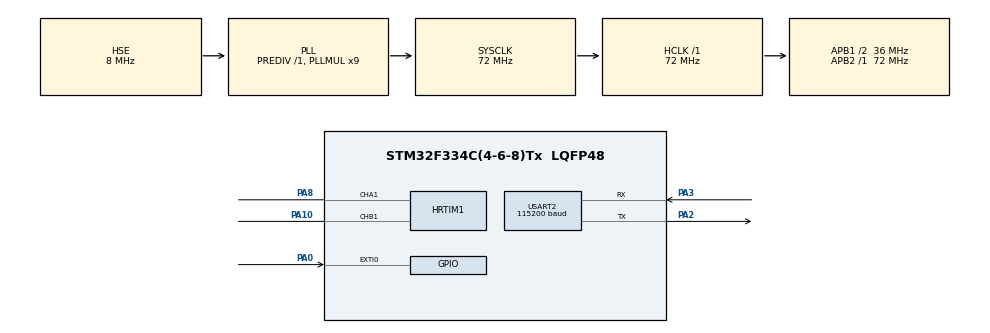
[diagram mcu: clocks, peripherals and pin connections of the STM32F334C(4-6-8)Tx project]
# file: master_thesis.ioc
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HRTIM1.CaptureUnit1-Output_TB1=__NULL
HRTIM1.CaptureUnit2-Output_TB1=__NULL
HRTIM1.CompareUnit1-MasterTimer=HRTIM_COMPAREUNIT_1
HRTIM1.CompareUnit1-Output_TA1=__NULL
HRTIM1.CompareUnit1-Output_TB1=__NULL
HRTIM1.CompareUnit2-MasterTimer=HRTIM_COMPAREUNIT_2
HRTIM1.CompareUnit2-Output_TB1=__NULL
HRTIM1.CompareUnit3-MasterTimer=HRTIM_COMPAREUNIT_3
HRTIM1.CompareUnit3-Output_TB1=__NULL
HRTIM1.CompareUnit4-MasterTimer=HRTIM_COMPAREUNIT_4
HRTIM1.CompareUnit4-Output_TB1=__NULL
HRTIM1.CompareValue1-MasterTimer=0x0060
HRTIM1.CompareValue2-MasterTimer=0x1260
HRTIM1.CompareValue3-MasterTimer=0x3F19
HRTIM1.CompareValue4-MasterTimer=0x5119
HRTIM1.HalfModeEnable-Output_TA1=HRTIM_HALFMODE_DISABLED
HRTIM1.InterruptRequests1_Master=HRTIM_MASTER_IT_MREP
HRTIM1.NumberInterruptRequests_Master-MasterTimer=1
HRTIM1.NumberResetSource1-Output_TA1=1
HRTIM1.NumberResetSource1-Output_TB1=1
HRTIM1.NumberSetSource1-Output_TA1=1
HRTIM1.NumberSetSource1-Output_TB1=1
HRTIM1.Periode_TA=0xFFDF
HRTIM1.Periode_TB=0xFFDF
HRTIM1.ResetOutput1_Source1-Output_TA1=HRTIM_OUTPUTRESET_MASTERCMP2
HRTIM1.ResetOutput1_Source1-Output_TB1=HRTIM_OUTPUTRESET_MASTERCMP4
HRTIM1.SetOutput1_Source1-Output_TA1=HRTIM_OUTPUTSET_MASTERCMP1
HRTIM1.SetOutput1_Source1-Output_TB1=HRTIM_OUTPUTSET_MASTERCMP3
Mcu.Family=STM32F3
Mcu.Name=STM32F334C(4-6-8)Tx
Mcu.Package=LQFP48
NVIC.EXTI0_IRQn=true\:0\:0\:false\:false\:true\:true\:true\:true
NVIC.HRTIM1_FLT_IRQn=true\:0\:0\:false\:false\:true\:true\:true\:true
NVIC.HRTIM1_Master_IRQn=true\:0\:0\:false\:false\:true\:true\:true\:true
NVIC.HRTIM1_TIMA_IRQn=true\:0\:0\:false\:false\:true\:true\:true\:true
NVIC.HRTIM1_TIMB_IRQn=true\:0\:0\:false\:false\:true\:true\:true\:true
NVIC.PriorityGroup=NVIC_PRIORITYGROUP_0
NVIC.USART2_IRQn=true\:0\:0\:false\:false\:true\:true\:true\:true
PA0.Signal=GPXTI0
PA10.Mode=Output_TB1
PA10.Signal=HRTIM1_CHB1
PA13.GPIO_Label=SWDIO
PA13.Mode=Serial_Wire
PA13.Signal=SYS_JTMS-SWDIO
PA14.GPIO_Label=SWCLK
PA14.Mode=Serial_Wire
PA14.Signal=SYS_JTCK-SWCLK
PA2.Mode=Asynchronous
PA2.Signal=USART2_TX
PA3.Mode=Asynchronous
PA3.Signal=USART2_RX
PA8.Mode=Output_TA1
PA8.Signal=HRTIM1_CHA1
PF0\ /\ OSC_IN.GPIO_Label=PF0-OSC_IN
PF0\ /\ OSC_IN.Mode=HSE-External-Clock-Source
PF0\ /\ OSC_IN.Signal=RCC_OSC_IN
PF1\ /\ OSC_OUT.GPIO_Label=PF1_OSC_OUT
PF1\ /\ OSC_OUT.Signal=RCC_OSC_OUT
ProjectManager.HeapSize=0x200
ProjectManager.StackSize=0x400
ProjectManager.TargetToolchain=STM32CubeIDE
RCC.AHBFreq_Value=72000000
RCC.APB1CLKDivider=RCC_HCLK_DIV2
RCC.APB1Freq_Value=36000000
RCC.APB1TimFreq_Value=72000000
RCC.APB2Freq_Value=72000000
RCC.APB2TimFreq_Value=72000000
RCC.CortexFreq_Value=72000000
RCC.HCLKFreq_Value=72000000
RCC.HRTIMSelection=RCC_HRTIM1CLK_PLLCLK
RCC.HSE_VALUE=8000000
RCC.HSI_VALUE=8000000
RCC.LSE_VALUE=32768
RCC.PLLMUL=RCC_PLL_MUL9
RCC.PLLSourceVirtual=RCC_PLLSOURCE_HSE
RCC.SYSCLKFreq_VALUE=72000000
RCC.SYSCLKSourceVirtual=RCC_SYSCLKSOURCE_PLLCLK
TIM1.Prescaler=18-1
USART2.BaudRate=115200
USART2.VirtualMode-Asynchronous=VM_ASYNC
VP_HRTIM1_VS_hrtimMasterTimerNoOutput.Mode=MasterTimer
VP_TIM1_VS_ClockSourceINT.Mode=Internal
board=STM32F3348-DISCO

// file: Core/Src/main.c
/* USER CODE BEGIN Header */
/**
  ******************************************************************************
  * @file           : main.c
  * @brief          : Main program body
  ******************************************************************************
  * @attention
  *
  * Copyright (c) 2024 STMicroelectronics.
  * All rights reserved.
  *
  * This software is licensed under terms that can be found in the LICENSE file
  * in the root directory of this software component.
  * If no LICENSE file comes with this software, it is provided AS-IS.
  *
  ******************************************************************************
  */
/* USER CODE END Header */
#include "main.h"

/* USER CODE BEGIN Includes */
#include "string.h"
/* USER CODE END Includes */

/* USER CODE BEGIN PTD */
union Packet
{
	uint32_t packetValue;
	struct
	{
		uint32_t header        :4;
		uint32_t mode          :4;
		uint32_t message       :16;
		uint32_t check         :8;
	}packetFields;
};

typedef union sendPacket {
	union Packet sendMessage;
    uint8_t buff[4];
}sendPacket_t;

/* USER CODE END PTD */

/* USER CODE BEGIN PD */
#define TRUE      1
#define FALSE     0
#define HEADER    0xAU
#define ACK       0xFFU
#define NACK      0x00U
/* USER CODE END PD */

HRTIM_HandleTypeDef hhrtim1;

TIM_HandleTypeDef htim1;

UART_HandleTypeDef huart2;

/* USER CODE BEGIN PV */
uint32_t delay = 0;
uint32_t dutyOfPulse1 = 0x1260;
uint32_t dutyOfPulse2 = 0x5119;
uint32_t pulse1Delay  = 0x0060;
uint32_t pulse2Delay  = 0x3F19;
uint32_t count = 0;
uint8_t data_valid = FALSE;
uint8_t received_byte = 0;
uint32_t received_message = 0;
uint32_t ack_message = 0;
/* MODES ---------------------------------------------------------------------*/
uint8_t modeConnect = 0x1;
uint8_t triggerPulse = 0x2;
uint8_t pulse1Width = 0x3;
uint8_t pulse2Width = 0x4;
uint8_t delayBetweenPulses = 0x5;
uint8_t delayOfPulse1 = 0x6;
/* USER CODE END PV */

void SystemClock_Config(void);
static void MX_GPIO_Init(void);
static void MX_HRTIM1_Init(void);
static void MX_USART2_UART_Init(void);
static void MX_TIM1_Init(void);
/* USER CODE BEGIN PFP */
void ack_send(void);
void nack_send(void);
void processes(void);
uint32_t check_sum(uint32_t message);
void received_data();
void delay_250ns(uint16_t ns);
/* USER CODE END PFP */

int main(void)
{

  /* MCU Configuration--------------------------------------------------------*/

  /* Reset of all peripherals, Initializes the Flash interface and the Systick. */
  HAL_Init();

  /* Configure the system clock */
  SystemClock_Config();

  /* Initialize all configured peripherals */
  MX_GPIO_Init();
  MX_HRTIM1_Init();
  MX_USART2_UART_Init();
  MX_TIM1_Init();
  /* USER CODE BEGIN 2 */
  __HAL_HRTIM_MASTER_ENABLE_IT(&hhrtim1, HRTIM_MASTER_IT_MREP); // Enables master clock
  HAL_UART_Receive_IT(&huart2, &received_byte, 1);
  /* USER CODE END 2 */

  /* Infinite loop */
  while (1)
  {

  }
}

void SystemClock_Config(void)
{
  RCC_OscInitTypeDef RCC_OscInitStruct = {0};
  RCC_ClkInitTypeDef RCC_ClkInitStruct = {0};
  RCC_PeriphCLKInitTypeDef PeriphClkInit = {0};

  /** Initializes the RCC Oscillators according to the specified parameters
  * in the RCC_OscInitTypeDef structure.
  */
  RCC_OscInitStruct.OscillatorType = RCC_OSCILLATORTYPE_HSE;
  RCC_OscInitStruct.HSEState = RCC_HSE_BYPASS;
  RCC_OscInitStruct.HSEPredivValue = RCC_HSE_PREDIV_DIV1;
  RCC_OscInitStruct.HSIState = RCC_HSI_ON;
  RCC_OscInitStruct.PLL.PLLState = RCC_PLL_ON;
  RCC_OscInitStruct.PLL.PLLSource = RCC_PLLSOURCE_HSE;
  RCC_OscInitStruct.PLL.PLLMUL = RCC_PLL_MUL9;
  if (HAL_RCC_OscConfig(&RCC_OscInitStruct) != HAL_OK)
  {
    Error_Handler();
  }

  /** Initializes the CPU, AHB and APB buses clocks
  */
  RCC_ClkInitStruct.ClockType = RCC_CLOCKTYPE_HCLK|RCC_CLOCKTYPE_SYSCLK
                              |RCC_CLOCKTYPE_PCLK1|RCC_CLOCKTYPE_PCLK2;
  RCC_ClkInitStruct.SYSCLKSource = RCC_SYSCLKSOURCE_PLLCLK;
  RCC_ClkInitStruct.AHBCLKDivider = RCC_SYSCLK_DIV1;
  RCC_ClkInitStruct.APB1CLKDivider = RCC_HCLK_DIV2;
  RCC_ClkInitStruct.APB2CLKDivider = RCC_HCLK_DIV1;

  if (HAL_RCC_ClockConfig(&RCC_ClkInitStruct, FLASH_LATENCY_2) != HAL_OK)
  {
    Error_Handler();
  }
  PeriphClkInit.PeriphClockSelection = RCC_PERIPHCLK_HRTIM1|RCC_PERIPHCLK_TIM1;
  PeriphClkInit.Tim1ClockSelection = RCC_TIM1CLK_HCLK;
  PeriphClkInit.Hrtim1ClockSelection = RCC_HRTIM1CLK_PLLCLK;
  if (HAL_RCCEx_PeriphCLKConfig(&PeriphClkInit) != HAL_OK)
  {
    Error_Handler();
  }
}

static void MX_HRTIM1_Init(void)
{

  HRTIM_TimeBaseCfgTypeDef pTimeBaseCfg = {0};
  HRTIM_TimerCfgTypeDef pTimerCfg = {0};
  HRTIM_CompareCfgTypeDef pCompareCfg = {0};
  HRTIM_OutputCfgTypeDef pOutputCfg = {0};

  hhrtim1.Instance = HRTIM1;
  hhrtim1.Init.HRTIMInterruptResquests = HRTIM_IT_NONE;
  hhrtim1.Init.SyncOptions = HRTIM_SYNCOPTION_NONE;
  if (HAL_HRTIM_Init(&hhrtim1) != HAL_OK)
  {
    Error_Handler();
  }
  if (HAL_HRTIM_DLLCalibrationStart(&hhrtim1, HRTIM_CALIBRATIONRATE_14) != HAL_OK)
  {
    Error_Handler();
  }
  if (HAL_HRTIM_PollForDLLCalibration(&hhrtim1, 10) != HAL_OK)
  {
    Error_Handler();
  }
  pTimeBaseCfg.Period = 0xFFDF;
  pTimeBaseCfg.RepetitionCounter = 0x00;
  pTimeBaseCfg.PrescalerRatio = HRTIM_PRESCALERRATIO_MUL32;
  pTimeBaseCfg.Mode = HRTIM_MODE_CONTINUOUS;
  if (HAL_HRTIM_TimeBaseConfig(&hhrtim1, HRTIM_TIMERINDEX_MASTER, &pTimeBaseCfg) != HAL_OK)
  {
    Error_Handler();
  }
  pTimerCfg.InterruptRequests = HRTIM_MASTER_IT_MREP;
  pTimerCfg.DMARequests = HRTIM_MASTER_DMA_NONE;
  pTimerCfg.DMASrcAddress = 0x0000;
  pTimerCfg.DMADstAddress = 0x0000;
  pTimerCfg.DMASize = 0x1;
  pTimerCfg.HalfModeEnable = HRTIM_HALFMODE_DISABLED;
  pTimerCfg.StartOnSync = HRTIM_SYNCSTART_DISABLED;
  pTimerCfg.ResetOnSync = HRTIM_SYNCRESET_DISABLED;
  pTimerCfg.DACSynchro = HRTIM_DACSYNC_NONE;
  pTimerCfg.PreloadEnable = HRTIM_PRELOAD_DISABLED;
  pTimerCfg.UpdateGating = HRTIM_UPDATEGATING_INDEPENDENT;
  pTimerCfg.BurstMode = HRTIM_TIMERBURSTMODE_MAINTAINCLOCK;
  pTimerCfg.RepetitionUpdate = HRTIM_UPDATEONREPETITION_DISABLED;
  if (HAL_HRTIM_WaveformTimerConfig(&hhrtim1, HRTIM_TIMERINDEX_MASTER, &pTimerCfg) != HAL_OK)
  {
    Error_Handler();
  }
  pCompareCfg.CompareValue = pulse1Delay;
  if (HAL_HRTIM_WaveformCompareConfig(&hhrtim1, HRTIM_TIMERINDEX_MASTER, HRTIM_COMPAREUNIT_1, &pCompareCfg) != HAL_OK)
  {
    Error_Handler();
  }
  pCompareCfg.CompareValue = dutyOfPulse1;
  if (HAL_HRTIM_WaveformCompareConfig(&hhrtim1, HRTIM_TIMERINDEX_MASTER, HRTIM_COMPAREUNIT_2, &pCompareCfg) != HAL_OK)
  {
    Error_Handler();
  }
  pCompareCfg.CompareValue = pulse2Delay;
  if (HAL_HRTIM_WaveformCompareConfig(&hhrtim1, HRTIM_TIMERINDEX_MASTER, HRTIM_COMPAREUNIT_3, &pCompareCfg) != HAL_OK)
  {
    Error_Handler();
  }
  pCompareCfg.CompareValue = dutyOfPulse2;
  if (HAL_HRTIM_WaveformCompareConfig(&hhrtim1, HRTIM_TIMERINDEX_MASTER, HRTIM_COMPAREUNIT_4, &pCompareCfg) != HAL_OK)
  {
    Error_Handler();
  }
  if (HAL_HRTIM_TimeBaseConfig(&hhrtim1, HRTIM_TIMERINDEX_TIMER_A, &pTimeBaseCfg) != HAL_OK)
  {
    Error_Handler();
  }
  pTimerCfg.InterruptRequests = HRTIM_TIM_IT_NONE;
  pTimerCfg.DMARequests = HRTIM_TIM_DMA_NONE;
  pTimerCfg.PushPull = HRTIM_TIMPUSHPULLMODE_DISABLED;
  pTimerCfg.FaultEnable = HRTIM_TIMFAULTENABLE_NONE;
  pTimerCfg.FaultLock = HRTIM_TIMFAULTLOCK_READWRITE;
  pTimerCfg.DeadTimeInsertion = HRTIM_TIMDEADTIMEINSERTION_DISABLED;
  pTimerCfg.DelayedProtectionMode = HRTIM_TIMER_A_B_C_DELAYEDPROTECTION_DISABLED;
  pTimerCfg.UpdateTrigger = HRTIM_TIMUPDATETRIGGER_NONE;
  pTimerCfg.ResetTrigger = HRTIM_TIMRESETTRIGGER_NONE;
  pTimerCfg.ResetUpdate = HRTIM_TIMUPDATEONRESET_DISABLED;
  if (HAL_HRTIM_WaveformTimerConfig(&hhrtim1, HRTIM_TIMERINDEX_TIMER_A, &pTimerCfg) != HAL_OK)
  {
    Error_Handler();
  }
  if (HAL_HRTIM_WaveformTimerConfig(&hhrtim1, HRTIM_TIMERINDEX_TIMER_B, &pTimerCfg) != HAL_OK)
  {
    Error_Handler();
  }
  pOutputCfg.Polarity = HRTIM_OUTPUTPOLARITY_HIGH;
  pOutputCfg.SetSource = HRTIM_OUTPUTSET_MASTERCMP1;
  pOutputCfg.ResetSource = HRTIM_OUTPUTRESET_MASTERCMP2;
  pOutputCfg.IdleMode = HRTIM_OUTPUTIDLEMODE_NONE;
  pOutputCfg.IdleLevel = HRTIM_OUTPUTIDLELEVEL_INACTIVE;
  pOutputCfg.FaultLevel = HRTIM_OUTPUTFAULTLEVEL_NONE;
  pOutputCfg.ChopperModeEnable = HRTIM_OUTPUTCHOPPERMODE_DISABLED;
  pOutputCfg.BurstModeEntryDelayed = HRTIM_OUTPUTBURSTMODEENTRY_REGULAR;
  if (HAL_HRTIM_WaveformOutputConfig(&hhrtim1, HRTIM_TIMERINDEX_TIMER_A, HRTIM_OUTPUT_TA1, &pOutputCfg) != HAL_OK)
  {
    Error_Handler();
  }
  pOutputCfg.SetSource = HRTIM_OUTPUTSET_MASTERCMP3;
  pOutputCfg.ResetSource = HRTIM_OUTPUTRESET_MASTERCMP4;
  if (HAL_HRTIM_WaveformOutputConfig(&hhrtim1, HRTIM_TIMERINDEX_TIMER_B, HRTIM_OUTPUT_TB1, &pOutputCfg) != HAL_OK)
  {
    Error_Handler();
  }
  if (HAL_HRTIM_TimeBaseConfig(&hhrtim1, HRTIM_TIMERINDEX_TIMER_B, &pTimeBaseCfg) != HAL_OK)
  {
    Error_Handler();
  }
  HAL_HRTIM_MspPostInit(&hhrtim1);

}

static void MX_TIM1_Init(void)
{

  TIM_ClockConfigTypeDef sClockSourceConfig = {0};
  TIM_MasterConfigTypeDef sMasterConfig = {0};

  htim1.Instance = TIM1;
  htim1.Init.Prescaler = 18-1;
  htim1.Init.CounterMode = TIM_COUNTERMODE_UP;
  htim1.Init.Period = 65535;
  htim1.Init.ClockDivision = TIM_CLOCKDIVISION_DIV1;
  htim1.Init.RepetitionCounter = 0;
  htim1.Init.AutoReloadPreload = TIM_AUTORELOAD_PRELOAD_DISABLE;
  if (HAL_TIM_Base_Init(&htim1) != HAL_OK)
  {
    Error_Handler();
  }
  sClockSourceConfig.ClockSource = TIM_CLOCKSOURCE_INTERNAL;
  if (HAL_TIM_ConfigClockSource(&htim1, &sClockSourceConfig) != HAL_OK)
  {
    Error_Handler();
  }
  sMasterConfig.MasterOutputTrigger = TIM_TRGO_RESET;
  sMasterConfig.MasterOutputTrigger2 = TIM_TRGO2_RESET;
  sMasterConfig.MasterSlaveMode = TIM_MASTERSLAVEMODE_DISABLE;
  if (HAL_TIMEx_MasterConfigSynchronization(&htim1, &sMasterConfig) != HAL_OK)
  {
    Error_Handler();
  }

}

static void MX_USART2_UART_Init(void)
{

  huart2.Instance = USART2;
  huart2.Init.BaudRate = 115200;
  huart2.Init.WordLength = UART_WORDLENGTH_8B;
  huart2.Init.StopBits = UART_STOPBITS_1;
  huart2.Init.Parity = UART_PARITY_NONE;
  huart2.Init.Mode = UART_MODE_TX_RX;
  huart2.Init.HwFlowCtl = UART_HWCONTROL_NONE;
  huart2.Init.OverSampling = UART_OVERSAMPLING_16;
  huart2.Init.OneBitSampling = UART_ONE_BIT_SAMPLE_DISABLE;
  huart2.AdvancedInit.AdvFeatureInit = UART_ADVFEATURE_NO_INIT;
  if (HAL_UART_Init(&huart2) != HAL_OK)
  {
    Error_Handler();
  }

}

static void MX_GPIO_Init(void)
{
  GPIO_InitTypeDef GPIO_InitStruct = {0};

  /* GPIO Ports Clock Enable */
  __HAL_RCC_GPIOF_CLK_ENABLE();
  __HAL_RCC_GPIOA_CLK_ENABLE();

  /*Configure GPIO pin : PA0 */
  GPIO_InitStruct.Pin = GPIO_PIN_0;
  GPIO_InitStruct.Mode = GPIO_MODE_IT_RISING;
  GPIO_InitStruct.Pull = GPIO_NOPULL;
  HAL_GPIO_Init(GPIOA, &GPIO_InitStruct);

  /* EXTI interrupt init*/
  HAL_NVIC_SetPriority(EXTI0_IRQn, 0, 0);
  HAL_NVIC_EnableIRQ(EXTI0_IRQn);

}

/* USER CODE BEGIN 4 */

void HAL_UART_RxCpltCallback(UART_HandleTypeDef *huart)
{
	if ((received_byte & 0xF) == HEADER)
	{
		data_valid = TRUE;
	}
	if (data_valid == TRUE)
	{
		received_message |= received_byte << count*8;
		count++;
		if (count == 4)
		{
			data_valid = FALSE;
			count = 0;
			received_data();
		}
	}
}

uint32_t check_sum(uint32_t message)
{
	uint32_t sum = 0;
	for(int8_t i = 0; i < 24; i++)
	{
		sum += (message >> i) & 0x1;
	}
	return sum;
}

void received_data()
{
	union Packet packet;
	packet.packetValue = received_message;

	if (check_sum((received_message)) == packet.packetFields.check)
	{
		processes();
		ack_send();
		received_message = 0;
	}
	else
	{
		nack_send();
	}
}

void processes(void)
{
	union Packet packet;
	packet.packetValue = received_message;

	if(((uint8_t)packet.packetFields.mode) == modeConnect)
	{
		ack_send();
	}else if(((uint8_t) packet.packetFields.mode) == triggerPulse)
	{
		HAL_HRTIM_WaveformOutputStart(&hhrtim1, HRTIM_OUTPUT_TA1 | HRTIM_OUTPUT_TB1);        // Enable the generation of the waveform signal on the designated output
	    HAL_HRTIM_WaveformCounterStart(&hhrtim1, HRTIM_TIMERID_TIMER_A | HRTIM_TIMERID_TIMER_B | HRTIM_TIMERID_MASTER);
	    ack_send();
	}else if(((uint8_t) packet.packetFields.mode) == pulse1Width)
	{
		dutyOfPulse1 = packet.packetFields.message;
		HAL_HRTIM_SoftwareReset(&hhrtim1, HRTIM_TIMERID_MASTER);
		MX_HRTIM1_Init();
		__HAL_HRTIM_MASTER_ENABLE_IT(&hhrtim1, HRTIM_MASTER_IT_MREP);
		ack_send();
	}else if(((uint8_t) packet.packetFields.mode) == pulse2Width)
	{
		dutyOfPulse2 = packet.packetFields.message;
		HAL_HRTIM_SoftwareReset(&hhrtim1, HRTIM_TIMERID_MASTER);
		MX_HRTIM1_Init();
		__HAL_HRTIM_MASTER_ENABLE_IT(&hhrtim1, HRTIM_MASTER_IT_MREP);
		ack_send();
	}else if(((uint8_t) packet.packetFields.mode) == delayOfPulse1)
	{
		pulse1Delay = packet.packetFields.message;
		HAL_HRTIM_SoftwareReset(&hhrtim1, HRTIM_TIMERID_MASTER);
		MX_HRTIM1_Init();
		__HAL_HRTIM_MASTER_ENABLE_IT(&hhrtim1, HRTIM_MASTER_IT_MREP);
		ack_send();
	}else if(((uint8_t) packet.packetFields.mode) == delayBetweenPulses)
	{
		pulse2Delay = packet.packetFields.message;
		HAL_HRTIM_SoftwareReset(&hhrtim1, HRTIM_TIMERID_MASTER);
		MX_HRTIM1_Init();
		__HAL_HRTIM_MASTER_ENABLE_IT(&hhrtim1, HRTIM_MASTER_IT_MREP);
		ack_send();
	}else
	{
		nack_send();
	}
}

void ack_send(void)
{
	union Packet packet = {0};
	packet.packetValue = 0;
	packet.packetFields.header = HEADER;
	packet.packetFields.mode = 0xF;
	packet.packetFields.message = 0x00;
	packet.packetFields.check = check_sum(packet.packetValue);

	sendPacket_t sendPacket;
	sendPacket.sendMessage = packet;

	HAL_UART_Transmit(&huart2, &sendPacket.buff[0], 4, HAL_MAX_DELAY);

}

void nack_send(void)
{
	union Packet packet = {0};
	packet.packetValue = 0;
	packet.packetFields.header = HEADER;
	packet.packetFields.mode = 0x0;
	packet.packetFields.message = 0x00;
	packet.packetFields.check = check_sum(packet.packetValue);

	sendPacket_t sendPacket;
	sendPacket.sendMessage = packet;

	HAL_UART_Transmit(&huart2, &sendPacket.buff[0], 4, HAL_MAX_DELAY);
}

void delay_250ns(uint16_t ns)
{
	__HAL_TIM_SET_COUNTER(&htim1,0);  // set the counter value a 0
	while (__HAL_TIM_GET_COUNTER(&htim1) < ns);  // wait for the counter to reach the us input in the parameter
}

/* USER CODE END 4 */

void Error_Handler(void)
{
  __disable_irq();
  while (1)
  {
  }
}
